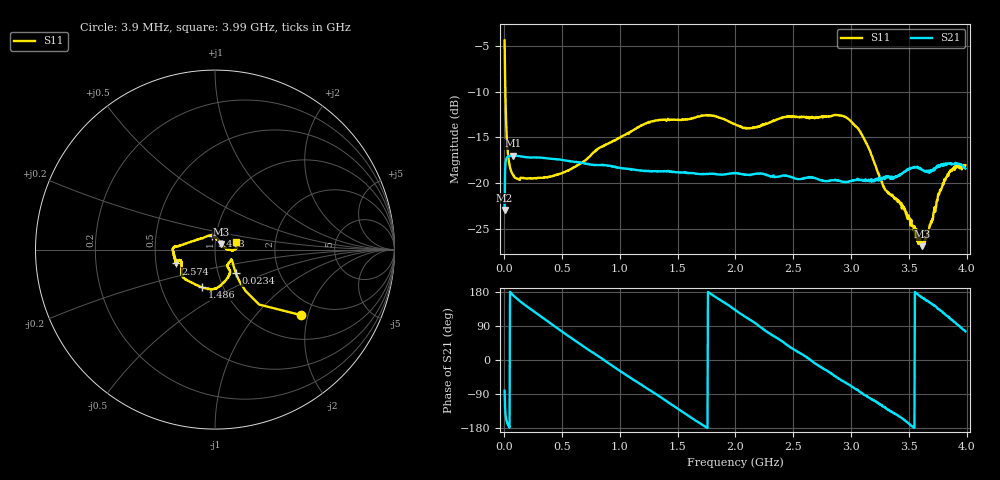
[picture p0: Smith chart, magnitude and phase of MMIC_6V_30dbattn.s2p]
# HZ S RI R 50
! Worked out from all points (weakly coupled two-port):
!   1023 points, 3.9 MHz to 3.99 GHz, reference 50 ohm
!   highest |S21| = -16.97 dB at 78 MHz (marker M1); lowest = -22.9 dB at 3.9 MHz (marker M2)
!   lowest |S11| = -26.8 dB at 3.615 GHz (marker M3), VSWR 1.10, Z = 53.5 + j3.12 ohm
!   |S11| at or under -10 dB: 10.49 MHz to end of sweep
!   S12 and S22 are empty: the file has one direction only
!   S11 on the Smith chart (normalised r, x): 3.9 MHz: 1.57, -1.79; 23.4 MHz: 1.21, -0.33; 1.486 GHz: 0.80, -0.35; 2.574 GHz: 0.64, -0.10; 3.413 GHz: 0.96, +0.15; 3.99 GHz: 1.27, +0.10
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3900000  0.477 -0.3644  0.0111 -0.0707  0 0  0 0
2.34e7  0.1159 -0.1302  -0.1325 -0.0387  0 0  0 0
4.29e7  0.101 -0.0813  -0.1406 -0.00817  0 0  0 0
7.8e7  0.0935 -0.0596  -0.1399 0.0226  0 0  0 0
3.705e8  0.0726 -0.0795  -0.031 0.1333  0 0  0 0
6.708e8  0.0749 -0.1054  0.1006 0.0816  0 0  0 0
9.399e8  0.0725 -0.1541  0.119 -0.0347  0 0  0 0
1.3338e9  -0.0139 -0.2199  -0.00855 -0.116  0 0  0 0
1.4859e9  -0.0716 -0.2104  -0.0663 -0.0939  0 0  0 0
1.7511e9  -0.1746 -0.1576  -0.1128 -0.0037  0 0  0 0
1.9968e9  -0.1864 -0.0967  -0.0776 0.0834  0 0  0 0
2.2386e9  -0.2012 -0.058  0.0161 0.1116  0 0  0 0
2.574e9  -0.2162 -0.0771  0.1019 0.0283  0 0  0 0
2.6637e9  -0.2244 -0.0525  0.107 -0.00498  0 0  0 0
2.9991e9  -0.2172 0.0183  0.0379 -0.0957  0 0  0 0
3.1161e9  -0.171 0.0302  -0.00494 -0.1034  0 0  0 0
3.3267e9  -0.0526 0.0719  -0.0721 -0.0816  0 0  0 0
3.4125e9  -0.0159 0.0777  -0.0939 -0.0583  0 0  0 0
3.6153e9  0.035 0.0291  -0.1147 0.0312  0 0  0 0
3.6504e9  0.0474 0.0155  -0.1087 0.044  0 0  0 0
3.8259e9  0.1078 -0.000207  -0.0577 0.112  0 0  0 0
3.9897e9  0.1191 0.0397  0.0296 0.1166  0 0  0 0
